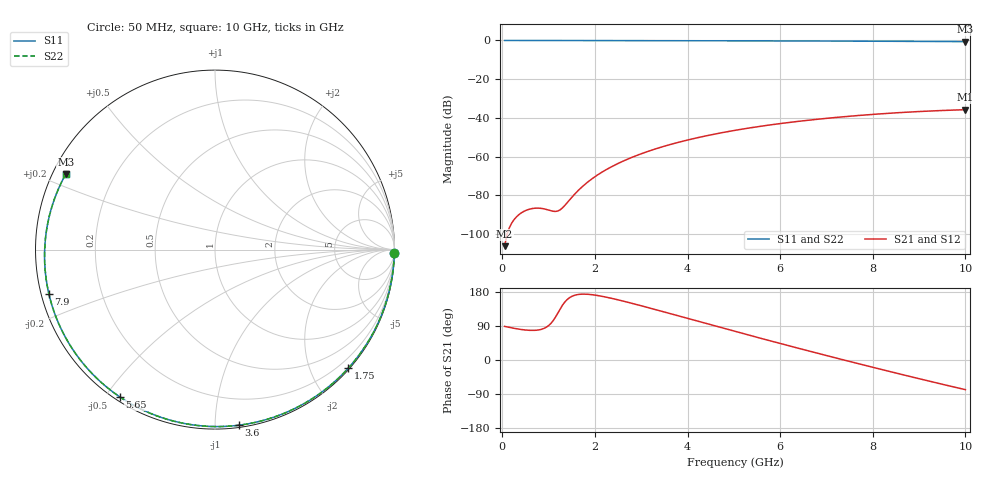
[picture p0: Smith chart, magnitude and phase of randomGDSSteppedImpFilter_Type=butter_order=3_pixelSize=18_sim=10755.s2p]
! freq	dB(S11)	phase(S11)	dB(S12)	phase(S12)
!  dB(S21)	phase(S21)	dB(S22)	phase(S22)
!S-par simulation data
#  GHz  S  DB  R 50
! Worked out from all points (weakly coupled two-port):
!   200 points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, 50 MHz to 10 GHz, reference 50 ohm
!   highest |S21| = -35.79 dB at 10 GHz (marker M1); lowest = -106.3 dB at 50 MHz (marker M2)
!   lowest |S11| = -0.6 dB at 10 GHz (marker M3), VSWR 28.43, Z = 1.86 + j11.9 ohm
!   |S11| at or under -10 dB: nowhere
!   |S22| runs from -0.6 to 0.0 dB; largest |S21 - S12| = 0
!   S11 on the Smith chart (normalised r, x): 50 MHz: 1, -97; 1.75 GHz: 0.02, -2.63; 3.6 GHz: 0.01, -1.14; 5.65 GHz: 0.01, -0.54; 7.9 GHz: 0.02, -0.13; 10 GHz: 0.04, +0.24
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0.05  -0.00 -1.2  -106.34 88.7  -106.34 88.7  -0.00 -1.2
0.4  -0.02 -9.7  -89.30 80.6  -89.30 80.6  -0.02 -9.7
0.75  -0.02 -18.1  -86.66 78.8  -86.66 78.8  -0.02 -18.1
1.5  -0.05 -35.9  -81.11 167.8  -81.11 167.8  -0.05 -35.9
1.55  -0.05 -37.0  -79.78 170.3  -79.78 170.3  -0.05 -37.0
1.75  -0.05 -41.7  -75.10 173.8  -75.10 173.8  -0.05 -41.7
2.05  -0.06 -48.6  -69.64 170.3  -69.64 170.3  -0.06 -48.5
2.45  -0.07 -57.6  -64.17 160.2  -64.17 160.2  -0.07 -57.6
2.9  -0.09 -67.5  -59.47 146.4  -59.47 146.4  -0.09 -67.5
3.4  -0.10 -78.2  -55.37 130.0  -55.37 130.0  -0.10 -78.2
3.6  -0.11 -82.4  -53.97 123.3  -53.97 123.3  -0.11 -82.4
4.3  -0.14 -96.7  -49.82 99.8  -49.82 99.8  -0.14 -96.7
5.05  -0.17 -111.5  -46.36 74.7  -46.36 74.7  -0.17 -111.5
5.65  -0.20 -123.0  -44.11 55.0  -44.11 55.0  -0.20 -123.0
6.2  -0.24 -133.3  -42.37 37.2  -42.37 37.2  -0.24 -133.3
6.7  -0.27 -142.6  -41.00 21.2  -41.00 21.2  -0.27 -142.6
7.3  -0.32 -153.8  -39.59 2.4  -39.59 2.4  -0.32 -153.8
7.9  -0.37 -165.0  -38.40 -16.2  -38.40 -16.2  -0.37 -165.0
8.35  -0.42 -173.6  -37.64 -29.9  -37.64 -29.9  -0.42 -173.6
8.8  -0.47 177.7  -37.00 -43.4  -37.00 -43.4  -0.47 177.7
9.2  -0.51 169.8  -36.51 -55.2  -36.51 -55.2  -0.51 169.8
10  -0.61 153.2  -35.79 -78.3  -35.79 -78.3  -0.61 153.3
